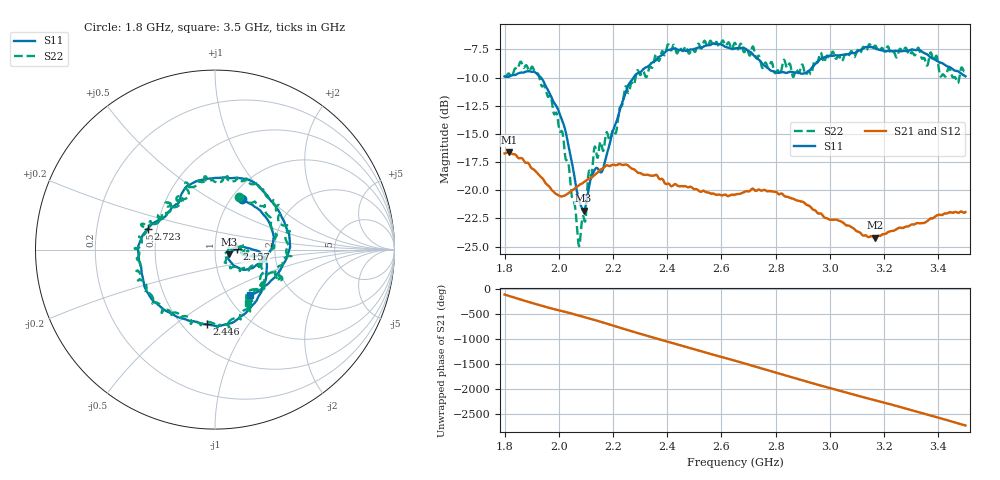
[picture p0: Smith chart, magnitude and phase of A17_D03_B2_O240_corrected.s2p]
! Created with skrf 1.9.0 (http://scikit-rf.org).
# Hz S RI R 50.0
!freq ReS11 ImS11 ReS21 ImS21 ReS12 ImS12 ReS22 ImS22
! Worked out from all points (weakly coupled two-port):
!   1601 points, 1.8 GHz to 3.5 GHz, reference 50 ohm
!   highest |S21| = -16.64 dB at 1.817 GHz (marker M1); lowest = -24.2 dB at 3.165 GHz (marker M2)
!   lowest |S11| = -21.8 dB at 2.091 GHz (marker M3), VSWR 1.18, Z = 58.2 - j3.02 ohm
!   |S11| at or under -10 dB: 1.934 GHz to 2.276 GHz (341.5 MHz wide, 16.2 % of centre)
!   |S22| runs from -25.0 to -6.7 dB; largest |S21 - S12| = 0.0027
!   S11 on the Smith chart (normalised r, x): 1.8 GHz: 1.12, +0.71; 2.157 GHz: 1.27, +0.01; 2.446 GHz: 0.65, -0.66; 2.723 GHz: 0.44, +0.12; 3.5 GHz: 1.26, -0.71
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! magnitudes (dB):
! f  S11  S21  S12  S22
! 1.8 GHz  -9.9  -16.7  -16.7  -9.8
! 1.817 GHz  -9.9  -16.6  -16.6  -9.7
! 1.903 GHz  -9.5  -18.1  -18.1  -9.0
! 1.968 GHz  -11.5  -19.8  -19.8  -11.6
! 2.015 GHz  -14.0  -20.5  -20.5  -15.0
! 2.072 GHz  -20.6  -19.6  -19.6  -24.7
! 2.084 GHz  -21.5  -19.4  -19.4  -23.0
! 2.091 GHz  -21.8  -19.3  -19.4  -22.3
! 2.13 GHz  -18.3  -18.7  -18.7  -16.3
! 2.157 GHz  -18.4  -18.1  -18.1  -15.9
! 2.209 GHz  -14.1  -17.8  -17.7  -15.0
! 2.258 GHz  -10.6  -17.8  -17.8  -11.3
! 2.367 GHz  -8.2  -18.9  -18.8  -8.5
! 2.446 GHz  -7.6  -19.6  -19.6  -7.4
! 2.65 GHz  -7.4  -20.4  -20.3  -6.9
! 2.723 GHz  -8.1  -20.0  -19.9  -7.8
! 2.934 GHz  -9.1  -21.6  -21.6  -9.5
! 3.165 GHz  -7.4  -24.2  -24.2  -7.2
! 3.217 GHz  -7.6  -23.7  -23.7  -7.4
! 3.376 GHz  -8.3  -22.5  -22.5  -7.9
! 3.468 GHz  -9.4  -21.9  -21.9  -10.3
! 3.5 GHz  -9.9  -21.9  -21.9  -9.2
